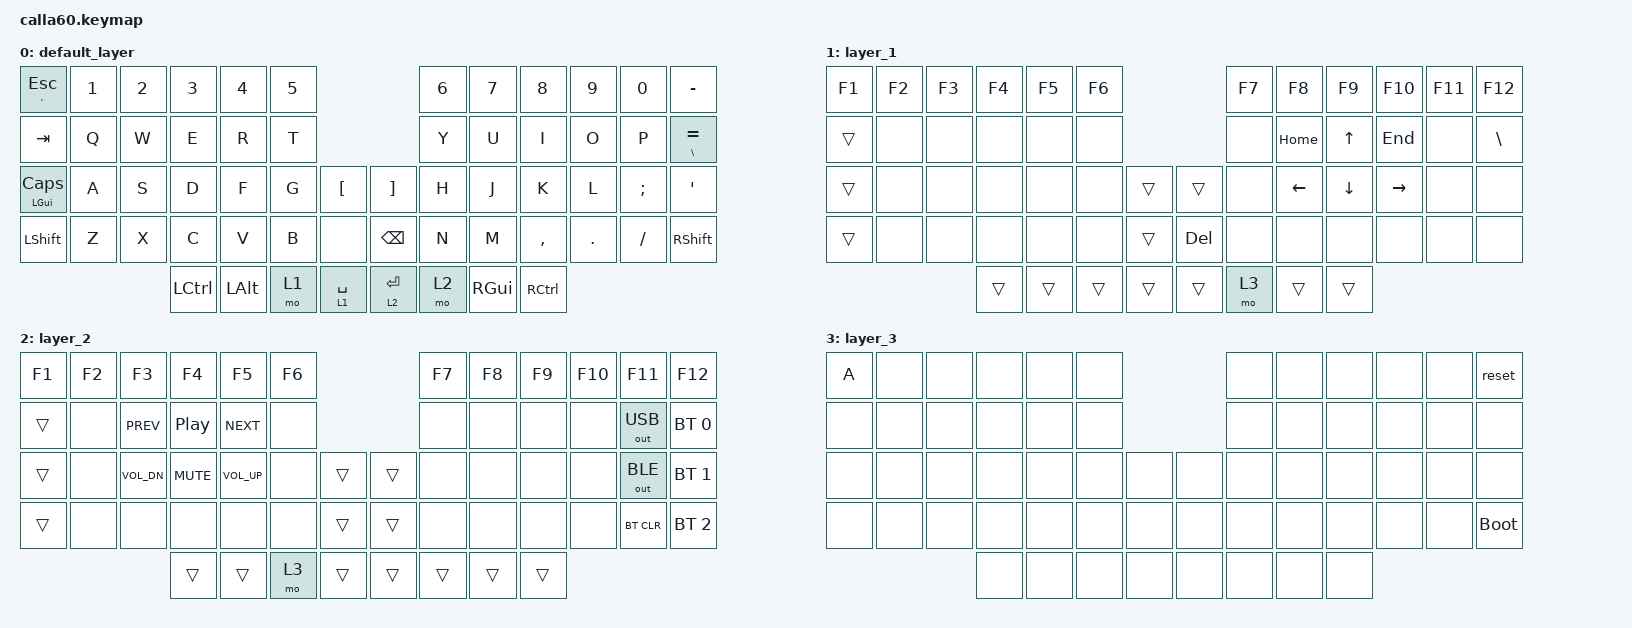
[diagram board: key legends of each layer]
/*
 * Copyright (c) 2020 The ZMK Contributors
 *
 * SPDX-License-Identifier: MIT
 */

#include <behaviors.dtsi>
#include <dt-bindings/zmk/keys.h>
#include <dt-bindings/zmk/bt.h>
#include <dt-bindings/zmk/outputs.h>

/ {
    keymap {
        compatible = "zmk,keymap";

        default_layer {
// -------------------------------------------------------------------------------------------------------
// |  ESC/` |  1  |  2  |  3   |  4   |  5   |                |  6   |  7    |  8   |  9   |   0  |   -  |
// |  TAB   |  Q  |  W  |  E   |  R   |  T   |                |  Y   |  U    |  I   |  O   |   P  |   =  |
// |GUI/CAPS|  A  |  S  |  D   |  F   |  G   |  "[" |  |   "]"|  H   |  J    |  K   |  L   |   ;  |   '  |
// | SHIFT  |  Z  |  X  |  C   |  V   |  B   | ---- |  | BSPC |  N   |  M    |  ,   |  .   |   /  | SHIFT|
//                      | CTRL | ALT  | LYR1 | SPACE|  | ENTER| LYR2 |  ALT  | CTRL |
            bindings = <
&mt GRAVE ESC  &kp N1 &kp N2 &kp N3    &kp N4   &kp N5                             &kp N6 &kp N7   &kp N8    &kp N9  &kp N0   &kp MINUS
&kp TAB        &kp Q  &kp W  &kp E     &kp R    &kp T                              &kp Y  &kp U    &kp I     &kp O   &kp P    &mt BSLH EQUAL
&mt LGUI CAPS  &kp A  &kp S  &kp D     &kp F    &kp G   &kp LBKT       &kp RBKT    &kp H  &kp J    &kp K     &kp L   &kp SEMI &kp SQT
&kp LSHFT      &kp Z  &kp X  &kp C     &kp V    &kp B   &none          &kp BSPC    &kp N  &kp M    &kp COMMA &kp DOT &kp FSLH &kp RSHFT
                                &kp LCTRL &kp LALT &mo 1   &lt 1 SPACE    &lt 2 RET   &mo 2  &kp RGUI &kp RCTL
            >;
        };

        layer_1 {
// ------------------------------------------------------------------------------------------------------
// |  F1  |  F2  |  F3  |  F4  |  F5  |  F6  |                |  F7  |  F8  |  F9  |  F10 | F11  |  F12 |
// |      | ---- | ---- | ---- | ---- | ---- |                | ---- | HOME |  UP  |  END | ---- | BSLH |
// |      | ---- | ---- | ---- | ---- | ---- |      |  |      | ---- | LEFT | DOWN | RIGHT| ---- | ---- |
// |      | ---- | ---- | ---- | ---- | ---- |      |  | DEL  | ---- | ---- | ---- | ---- | ---- | ---- |
//                      |      |      |      |      |  |      | LYR3 |      |      |
            bindings = <
&kp F1 &kp F2 &kp F3 &kp F4 &kp F5 &kp F6                   &kp F7 &kp F8   &kp F9   &kp F10   &kp F11 &kp F12
&trans &none  &none  &none  &none  &none                    &none  &kp HOME &kp UP   &kp END   &none   &kp BSLH
&trans &none  &none  &none  &none  &none  &trans    &trans  &none  &kp LEFT &kp DOWN &kp RIGHT &none   &none
&trans &none  &none  &none  &none  &none  &trans    &kp DEL &none  &none    &none    &none     &none   &none
                     &trans &trans &trans &trans    &trans  &mo 3  &trans   &trans
            >;
        };

        layer_2 {
// -------------------------------------------------------------------------------------------------------
// |   F1 |  F2  |  F3  |  F4  |  F5  |  F6  |                |  F7  |  F8  |  F9  | F10  | F11  | F12  |
// |      | ---- | PREV | P/P  | NEXT | ---- |                | ---- | ---- | ---- | ---- | USB  | BT-0 |
// |      | ---- | V-UP | MUTE | V_DN | ---- |      |  |      | ---- | ---- | ---- | ---- | BLE  | BT-1 |
// |      | ---- | ---- | ---- | ---- | ---- |      |  | DEL  | ---- | ---- | ---- | ---- |BT_CLR| BT-2 |
//                      |      |      | LYR3 |      |  |      |      |      |      |
            bindings = <
&kp F1 &kp F2 &kp F3       &kp F4     &kp F5       &kp F6                  &kp F7 &kp F8 &kp F9 &kp F10 &kp F11      &kp F12
&trans &none  &kp C_PREV   &kp C_PP   &kp C_NEXT   &none                   &none  &none  &none  &none   &out OUT_USB &bt BT_SEL 0
&trans &none  &kp C_VOL_DN &kp C_MUTE &kp C_VOL_UP &none  &trans    &trans &none  &none  &none  &none   &out OUT_BLE &bt BT_SEL 1
&trans &none  &none        &none      &none        &none  &trans    &trans &none  &none  &none  &none   &bt BT_CLR   &bt BT_SEL 2
                           &trans     &trans       &mo 3  &trans    &trans &trans &trans &trans
            >;
        };

        layer_3 {
// -------------------------------------------------------------------------------------------------------
// | ---- | ---- | ---- | ---- | ---- | ---- |                | ---- | ---- | ---- | ---- | ---- | RESET|
// | ---- | ---- | ---- | ---- | ---- | ---- |                | ---- | ---- | ---- | ---- | ---- | ---- |
// | ---- | ---- | ---- | ---- | ---- | ---- | ---- |  | ---- | ---- | ---- | ---- | ---- | ---- | ---- |
// | ---- | ---- | ---- | ---- | ---- | ---- | ---- |  | ---- | ---- | ---- | ---- | ---- | ---- | BLDR |
//                      | ---- | ---- | ---- | ---- |  | ---- | ---- | ---- | ---- |
            bindings = <
&kp A &none &none &none &none &none                &none &none &none &none &none &reset
&none &none &none &none &none &none                &none &none &none &none &none &none
&none &none &none &none &none &none &none    &none &none &none &none &none &none &none
&none &none &none &none &none &none &none    &none &none &none &none &none &none &bootloader
                  &none &none &none &none    &none &none &none &none
            >;
        };
    };
};
